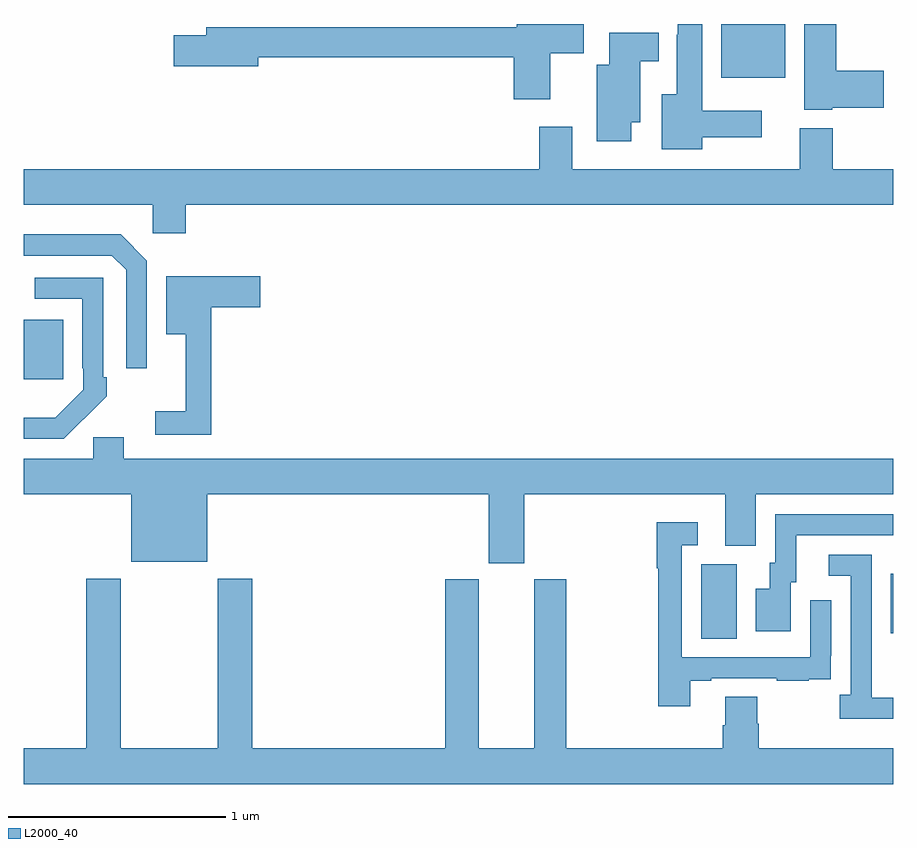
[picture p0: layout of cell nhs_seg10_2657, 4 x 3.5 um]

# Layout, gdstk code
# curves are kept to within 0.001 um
import gdstk
lib = gdstk.Library(unit=1e-6, precision=1e-09)
def R(c, l, rs):  # rectangles x0, y0, x1, y1
    for r in rs: c.add(gdstk.rectangle(r[:2], r[2:], *l))
def P(c, l, *ps):  # polygons
    for p in ps: c.add(gdstk.Polygon(p, *l))
L2000_40 = (2000, 40)

nhs_seg10_2657 = lib.new_cell('nhs_seg10_2657')
R(nhs_seg10_2657, L2000_40, [(258.116,1279.672,258.28,1280.016), (258.989,1279.697,259,1279.972), (255,1280.865,255.181,1281.139), (258.209,1282.253,258.502,1282.5)])
P(nhs_seg10_2657, L2000_40, [(258.72,1282.115),(258.955,1282.115),(258.955,1282.286),(258.737,1282.286),(258.737,1282.5),(258.59,1282.5),(258.59,1282.106),(258.72,1282.106)],
  [(257.422,1282.366),(257.575,1282.366),(257.575,1282.5),(257.267,1282.5),(257.267,1282.484),(255.839,1282.484),(255.839,1282.448),(255.69,1282.448),(255.69,1282.306),(256.078,1282.306),(256.078,1282.348),(257.255,1282.348),(257.255,1282.155),(257.422,1282.155)],
  [(258.121,1281.98),(258.394,1281.98),(258.394,1282.102),(258.121,1282.102),(258.121,1282.5),(258.009,1282.5),(258.009,1282.451),(258.005,1282.451),(258.005,1282.177),(257.936,1282.177),(257.936,1281.923),(258.121,1281.923)],
  [(257.794,1282.049),(257.836,1282.049),(257.836,1282.328),(257.92,1282.328),(257.92,1282.459),(257.693,1282.459),(257.693,1282.312),(257.636,1282.312),(257.636,1281.96),(257.794,1281.96)],
  [(259,1281.832),(258.722,1281.832),(258.722,1282.021),(258.569,1282.021),(258.569,1281.832),(257.524,1281.832),(257.524,1282.027),(257.372,1282.027),(257.372,1281.832),(255,1281.832),(255,1281.668),(255.594,1281.668),(255.594,1281.537),(255.746,1281.537),(255.746,1281.668),(259,1281.668)],
  [(255.567,1281.411),(255.446,1281.532),(255,1281.532),(255,1281.435),(255.405,1281.435),(255.471,1281.369),(255.471,1280.916),(255.567,1280.916)],
  [(255.863,1281.197),(256.087,1281.197),(256.087,1281.339),(255.656,1281.339),(255.656,1281.074),(255.746,1281.074),(255.746,1280.719),(255.606,1280.719),(255.606,1280.61),(255.863,1280.61)],
  [(255.275,1280.683),(255.276,1280.682),(255.381,1280.787),(255.381,1280.875),(255.366,1280.875),(255.366,1281.333),(255.051,1281.333),(255.051,1281.237),(255.27,1281.237),(255.27,1280.917),(255.273,1280.917),(255.273,1280.817),(255.145,1280.689),(255,1280.688),(255,1280.592),(255.184,1280.592)],
  [(257.302,1280.336),(258.227,1280.336),(258.227,1280.101),(258.367,1280.101),(258.367,1280.336),(259,1280.336),(259,1280.5),(255.46,1280.5),(255.46,1280.598),(255.321,1280.598),(255.321,1280.5),(255,1280.5),(255,1280.336),(255.494,1280.336),(255.494,1280.027),(255.844,1280.027),(255.844,1280.336),(257.138,1280.336),(257.138,1280.019),(257.302,1280.019)],
  [(258.529,1279.932),(258.553,1279.932),(258.553,1280.148),(259,1280.148),(259,1280.244),(258.456,1280.244),(258.456,1280.022),(258.431,1280.022),(258.431,1279.903),(258.368,1279.903),(258.368,1279.707),(258.529,1279.707)],
  [(258.067,1279.479),(258.163,1279.479),(258.163,1279.491),(258.463,1279.491),(258.463,1279.479),(258.611,1279.479),(258.611,1279.485),(258.713,1279.485),(258.713,1279.594),(258.714,1279.594),(258.714,1279.849),(258.618,1279.849),(258.618,1279.587),(258.027,1279.587),(258.027,1280.103),(258.1,1280.103),(258.1,1280.209),(257.911,1280.209),(257.911,1279.996),(257.919,1279.996),(257.919,1279.362),(258.067,1279.362)],
  [(259,1279.401),(258.901,1279.401),(258.901,1279.601),(258.9,1279.601),(258.9,1280.058),(258.702,1280.058),(258.702,1279.962),(258.804,1279.962),(258.804,1279.414),(258.753,1279.414),(258.753,1279.304),(259,1279.304)],
  [(259,1279.168),(258.38,1279.168),(258.38,1279.281),(258.375,1279.281),(258.375,1279.406),(258.227,1279.406),(258.227,1279.274),(258.215,1279.274),(258.215,1279.168),(257.496,1279.168),(257.496,1279.947),(257.348,1279.947),(257.348,1279.168),(257.092,1279.168),(257.092,1279.947),(256.94,1279.947),(256.94,1279.168),(256.052,1279.168),(256.052,1279.948),(255.892,1279.948),(255.892,1279.168),(255.447,1279.168),(255.447,1279.948),(255.287,1279.948),(255.287,1279.168),(255,1279.168),(255,1279.004),(259,1279.004)])

lib.write_gds('nhs_seg10_2657.gds')
